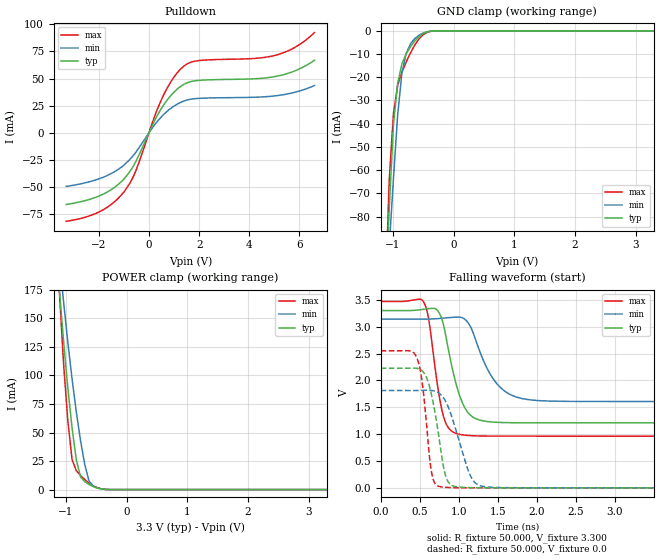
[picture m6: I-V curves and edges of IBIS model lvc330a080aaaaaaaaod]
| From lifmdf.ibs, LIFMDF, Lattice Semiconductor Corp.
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|   Model lvc330a080aaaaaaaaod
[Model] lvc330a080aaaaaaaaod
Model_type I/O_open_drain
Polarity   Non-Inverting
Enable   Active-Low
Vinl =  0.800V
Vinh =  2.000V
Vmeas =  1.650V
Cref =  0.0F
Rref =  1.000M
Vref =  0.0V
C_comp   5.000pF   4.000pF   5.500pF
[Temperature Range]   25.000   0.125k   -40.000
[Voltage Range]   3.300V   3.140V   3.470V
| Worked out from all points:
|   slope of the pulldown table from 0 to 0.495 V, typ, clamps not added: 22.2 ohm
|   GND clamp passes 1 mA (typ) near -0.48 V on its own axis
|   POWER clamp passes 1 mA (typ) near -0.46 V on its own axis
|   falling waveform, R_fixture 50.000, V_fixture 3.300: 20-80 % time 207ps typ, 307ps min, 149ps max; typ from 3.3 V to 1.21 V
|   falling waveform, R_fixture 50.000, V_fixture 0.0: 20-80 % time 154ps typ, 231ps min, 107ps max; typ from 2.23 V to 0 V
[Pulldown]
|Voltage   I(typ)   I(min)   I(max)
-3.3V     -66.12mA   -49.45mA   -81.62mA
-1.9V     -57.38mA   -41.67mA   -71.93mA
-1V       -42.63mA   -29.84mA   -54.63mA
-500mV    -25.4mA    -17.23mA   -33.66mA
200mV     10mA       6.57mA     13.59mA
600mV     26.08mA    17.12mA    35.57mA
1V        37.51mA    24.6mA     51.39mA
1.4V      44.74mA    29.31mA    61.55mA
2V        48.29mA    31.71mA    66.54mA
5V        51.68mA    33.93mA    71.19mA
5.8V      56.86mA    37.2mA     78.45mA
6.6V      66.79mA    43.54mA    92.35mA
[GND_clamp]
|Voltage   I(typ)   I(min)   I(max)
-3.3V     -1.71A     -1.258A    -2.349A
-1.13V    -119.4mA   -124.8mA   -120.4mA
-1.06V    -76.91mA   -93.41mA   -64.42mA
-990mV    -40.37mA   -63.68mA   -35.65mA
-920mV    -22.62mA   -36.09mA   -23.42mA
-850mV    -14.16mA   -18.16mA   -17.82mA
-780mV    -9.927mA   -9.751mA   -13.44mA
-710mV    -6.91mA    -5.613mA   -9.526mA
-640mV    -4.44mA    -3.389mA   -6.157mA
-500mV    -1.202mA   -949.6uA   -1.652mA
-290mV    -17.25uA   -20.48uA   -19.31uA
3.3V      0A         0A         0A
[POWER_clamp]
|Voltage   I(typ)   I(min)   I(max)
-3.3V     2.101A     1.758A     3.757A
-1.11V    175.8mA    202.2mA    175mA
-1.04V    130.5mA    164.8mA    110.8mA
-970mV    89.45mA    129.5mA    60.76mA
-900mV    54.3mA     97.15mA    26.5mA
-830mV    26.3mA     68.21mA    16.62mA
-760mV    11.08mA    42.94mA    12.4mA
-690mV    7.003mA    21.99mA    8.787mA
-620mV    4.527mA    7.423mA    5.723mA
-550mV    2.623mA    2.943mA    3.295mA
-270mV    19.59uA    47.33uA    15.48uA
3.3V      0A         0A         0A
[Ramp]
| variable   typ   min   max
dV/dt_r   1.335/0.193n   1.087/0.298n   1.530/0.139n
dV/dt_f   1.255/0.212n   0.920/0.311n   1.505/0.156n
R_load = 50.000
[Falling Waveform]
R_fixture= 50.000
V_fixture= 3.300
V_fixture_min= 3.140
V_fixture_max= 3.470
|time   V(typ)   V(min)   V(max)
0s        3.3V       3.14V      3.47V
548ps     3.323V     3.139V     3.464V
612ps     3.334V     3.141V     3.16V
721ps     3.311V     3.149V     1.974V
801ps     3.05V      3.159V     1.345V
1.024ns   1.663V     3.173V     991.9mV
1.174ns   1.324V     2.92V      970.1mV
1.489ns   1.22V      1.936V     963mV
1.938ns   1.21V      1.634V     962.5mV
10ns      1.209V     1.607V     962.5mV
[Falling Waveform]
R_fixture= 50.000
V_fixture= 0.0
V_fixture_min= 0.0
V_fixture_max= 0.0
|time   V(typ)   V(min)   V(max)
0s        2.225V     1.812V     2.55V
464ps     2.224V     1.812V     2.416V
532ps     2.176V     1.814V     1.95V
651ps     1.729V     1.813V     289.1mV
775ps     650.6mV    1.725V     19.02mV
827ps     247.7mV    1.621V     10.93mV
896ps     57.42mV    1.385V     5.737mV
1.143ns   4.883mV    243.5mV    610.6uV
1.315ns   1.378mV    26.1mV     127.7uV
10ns      0V         0V         0V
